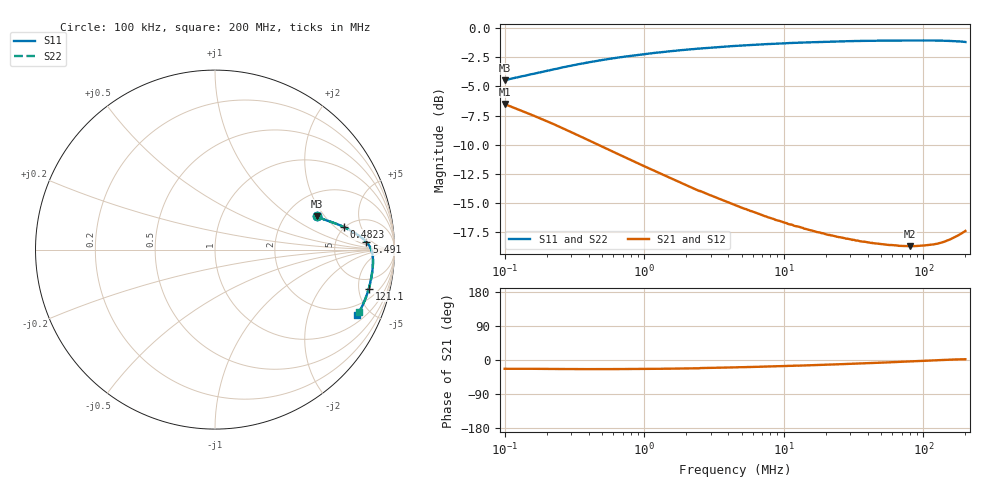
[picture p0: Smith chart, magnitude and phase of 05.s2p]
#  HZ  S  RI  R  50.00
! Rohde & Schwarz Vector Network Analyzer
! Rohde-Schwarz,ZNLE6-2Port,1323001256200024,1.71.1.10-23.02.1.238
! Created: UTC 4/11/2025, 7:32:24 AM
! freq[Hz]  re:S11  im:S11  re:S21  im:S21  re:S12  im:S12  re:S22  im:S22
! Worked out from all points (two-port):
!   1001 points, 100 kHz to 200 MHz, reference 50 ohm
!   highest |S21| = -6.52 dB at 100 kHz (marker M1); lowest = -18.7 dB at 80.34 MHz (marker M2)
!   |S21| within 3 dB of the highest: start of sweep to 383.9 kHz
!   lowest |S11| = -4.5 dB at 100 kHz (marker M3), VSWR 3.98, Z = 146 + j84.1 ohm
!   |S11| at or under -10 dB: nowhere
!   |S22| runs from -4.5 to -1.1 dB; largest |S21 - S12| = 0.0038
!   S11 on the Smith chart (normalised r, x): 100 kHz: 2.92, +1.68; 482.3 kHz: 4.87, +2.62; 5.491 MHz: 11, +3; 121.1 MHz: 3.21, -6.42; 200 MHz: 1.38, -4.17
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100000  0.569 0.1851  0.4342 -0.1857  0.4347 -0.1858  0.5686 0.1848
195204.9  0.6338 0.159  0.3687 -0.1599  0.3691 -0.16  0.6335 0.159
355854.1  0.6904 0.1381  0.3118 -0.1391  0.3121 -0.1392  0.6902 0.1381
482295.5  0.7159 0.1267  0.2862 -0.1281  0.2865 -0.1283  0.7157 0.1267
808692.2  0.7535 0.1072  0.2483 -0.1096  0.2485 -0.1098  0.7533 0.1073
1266322  0.7808 0.0912  0.2203 -0.0947  0.2204 -0.0949  0.7807 0.0913
2397897  0.8124 0.0699  0.1875 -0.0754  0.1877 -0.0753  0.8123 0.0699
4472136  0.8371 0.0491  0.1645 -0.058  0.1637 -0.0593  0.8373 0.0511
5490891  0.8437 0.0419  0.1577 -0.0527  0.1568 -0.0553  0.8438 0.0448
8796434  0.8572 0.0253  0.1443 -0.0425  0.1438 -0.0458  0.8569 0.0282
1.591428e7  0.8696 0.00276  0.1318 -0.032  0.1313 -0.0332  0.8697 0.0046
2.945577e7  0.8784 -0.0316  0.1226 -0.0223  0.1225 -0.0228  0.8783 -0.0295
3.931964e7  0.8803 -0.0541  0.1197 -0.0181  0.1195 -0.0185  0.8803 -0.0513
5.663162e7  0.8791 -0.0924  0.1169 -0.0127  0.1164 -0.0149  0.8799 -0.0869
6.299027e7  0.8785 -0.104  0.1166 -0.0115  0.1165 -0.012  0.8789 -0.0996
8.03353e7  0.8735 -0.1399  0.116 -0.00749  0.1156 -0.0101  0.875 -0.1329
1.009107e8  0.8665 -0.1793  0.1169 -0.00437  0.1167 -0.00693  0.8683 -0.1713
1.21105e8  0.8571 -0.2179  0.1185 -0.00201  0.1183 -0.00431  0.8594 -0.2089
1.53283e8  0.8353 -0.28  0.1237 0.00159  0.1235 -0.000667  0.8404 -0.2685
1.717946e8  0.8206 -0.3136  0.1279 0.00315  0.1278 0.000407  0.8267 -0.3011
1.925417e8  0.8012 -0.3497  0.133 0.00431  0.1328 0.00174  0.8089 -0.3362
2e8  0.793 -0.3617  0.1349 0.00481  0.135 0.0024  0.8017 -0.3484
